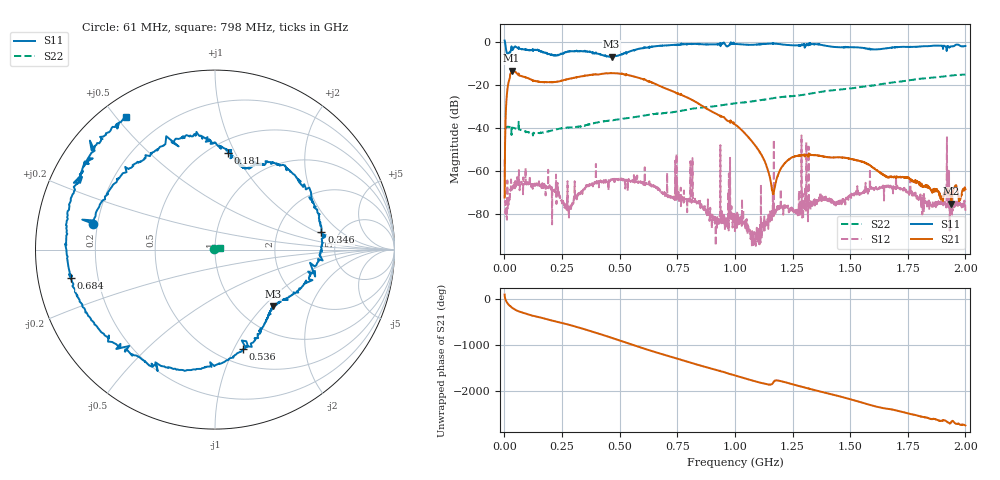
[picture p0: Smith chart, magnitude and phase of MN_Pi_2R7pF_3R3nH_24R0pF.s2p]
# GHZ S RI R 50.000000000000
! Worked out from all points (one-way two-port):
!   2000 points, 1 MHz to 2 GHz, reference 50 ohm
!   highest |S21| = -13.43 dB at 31 MHz (marker M1); lowest = -75.3 dB at 1.939 GHz (marker M2)
!   lowest |S11| = -6.9 dB at 465 MHz (marker M3), VSWR 2.64, Z = 71.3 - j56.4 ohm
!   |S11| at or under -10 dB: nowhere
!   |S22| runs from -43.6 to -15.2 dB; largest |S21 - S12| = 0.21
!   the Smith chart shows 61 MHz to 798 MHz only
!   S11 on the Smith chart (normalised r, x): 61 MHz: 0.18, +0.10; 181 MHz: 0.61, +0.94; 346 MHz: 3.64, +1.12; 536 MHz: 0.65, -1.09; 684 MHz: 0.10, -0.10; 798 MHz: 0.07, +0.53
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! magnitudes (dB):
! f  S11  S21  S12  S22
! 1 MHz  0.7  -72.5  -54.7  -40.8
! 14 MHz  -5.7  -21.3  -77.6  -39.5
! 31 MHz  -2.1  -13.4  -68.8  -43.3
! 61 MHz  -3.1  -15.5  -66.7  -40.6
! 181 MHz  -5.3  -18.8  -67.6  -41.8
! 285 MHz  -4.4  -17.1  -77.4  -39.8
! 335 MHz  -4.3  -16.0  -69.8  -39.3
! 346 MHz  -4.4  -15.9  -68.6  -39.0
! 465 MHz  -6.9  -14.5  -64.7  -36.5
! 536 MHz  -4.8  -15.4  -64.4  -35.4
! 668 MHz  -1.9  -20.2  -69.9  -33.4
! 684 MHz  -1.7  -21.0  -69.9  -33.3
! 798 MHz  -1.0  -26.1  -73.2  -31.4
! 1.001 GHz  -0.9  -38.5  -83.3  -28.6
! 1.113 GHz  -1.1  -52.2  -66.4  -27.1
! 1.166 GHz  -0.9  -70.8  -72.9  -26.2
! 1.226 GHz  -1.4  -55.5  -77.1  -25.4
! 1.334 GHz  -1.1  -52.6  -75.3  -24.0
! 1.667 GHz  -2.8  -63.2  -67.6  -19.1
! 1.921 GHz  -2.3  -68.2  -72.7  -15.9
! 1.939 GHz  -2.0  -75.3  -77.8  -15.7
! 2 GHz  -1.9  -68.6  -78.7  -15.2
